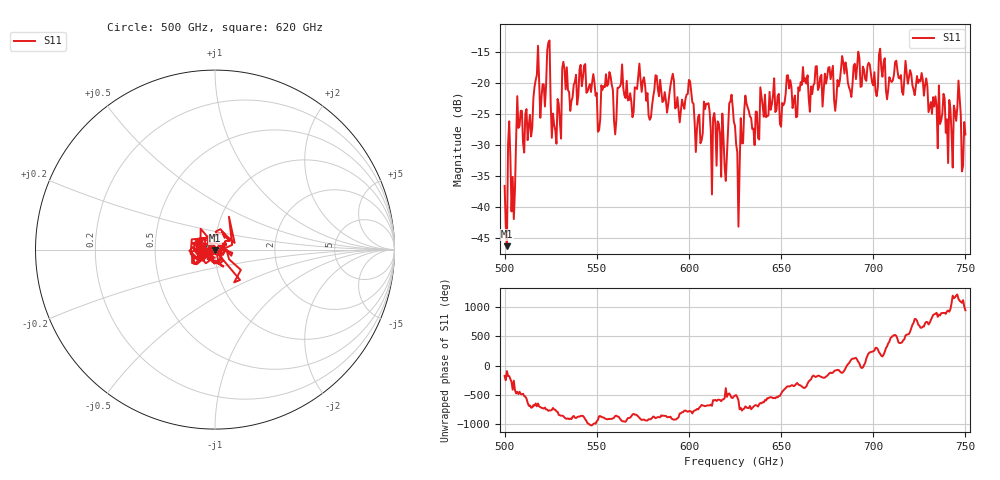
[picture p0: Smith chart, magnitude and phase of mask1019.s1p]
!Created with skrf (http://scikit-rf.org).
# GHz S MA R 50.0
!freq magS11 angS11
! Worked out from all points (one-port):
!   401 points, 500 GHz to 750 GHz, reference 50 ohm
!   lowest |S11| = -46.3 dB at 501.2 GHz (marker M1), VSWR 1.01, Z = 50 - j0.483 ohm
!   |S11| at or under -10 dB: start of sweep to end of sweep
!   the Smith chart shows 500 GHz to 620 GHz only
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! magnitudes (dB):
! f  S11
! 500 GHz  -36.6
! 501.2 GHz  -46.3
! 505 GHz  -41.9
! 508.1 GHz  -26.9
! 513.8 GHz  -25.2
! 517.5 GHz  -18.7
! 520.6 GHz  -20.2
! 523.8 GHz  -13.5
! 526.9 GHz  -26.7
! 531.2 GHz  -17.7
! 542.5 GHz  -19.2
! 550.6 GHz  -27.9
! 562.5 GHz  -20.6
! 593.8 GHz  -22.3
! 605 GHz  -25.5
! 609.4 GHz  -23.4
! 618.8 GHz  -28.9
! 622.5 GHz  -23.0
! 625 GHz  -26.9
! 626.2 GHz  -31.2
! 631.2 GHz  -23.3
! 636.9 GHz  -24.7
! 656.2 GHz  -24.1
! 687.5 GHz  -21.3
! 718.8 GHz  -20.1
! 741.9 GHz  -24.2
! 746.2 GHz  -19.6
! 750 GHz  -28.3
